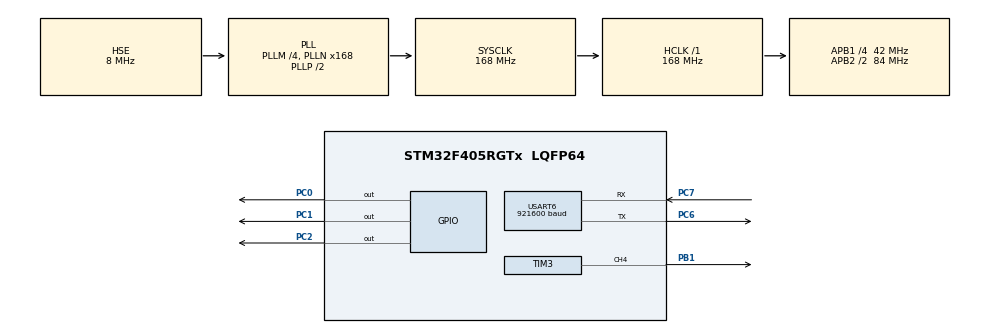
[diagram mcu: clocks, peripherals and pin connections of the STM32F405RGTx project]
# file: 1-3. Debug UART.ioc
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Mcu.Family=STM32F4
Mcu.Name=STM32F405RGTx
Mcu.Package=LQFP64
NVIC.PriorityGroup=NVIC_PRIORITYGROUP_4
NVIC.USART6_IRQn=true\:0\:0\:false\:false\:true\:true\:true\:true
PB1.Signal=S_TIM3_CH4
PC0.Signal=GPIO_Output
PC1.Signal=GPIO_Output
PC2.Signal=GPIO_Output
PC6.Mode=Asynchronous
PC6.Signal=USART6_TX
PC7.Mode=Asynchronous
PC7.Signal=USART6_RX
PH0-OSC_IN.Mode=HSE-External-Oscillator
PH0-OSC_IN.Signal=RCC_OSC_IN
PH1-OSC_OUT.Mode=HSE-External-Oscillator
PH1-OSC_OUT.Signal=RCC_OSC_OUT
ProjectManager.HeapSize=0x200
ProjectManager.StackSize=0x400
ProjectManager.TargetToolchain=STM32CubeIDE
RCC.48MHZClocksFreq_Value=84000000
RCC.AHBFreq_Value=168000000
RCC.APB1CLKDivider=RCC_HCLK_DIV4
RCC.APB1Freq_Value=42000000
RCC.APB1TimFreq_Value=84000000
RCC.APB2CLKDivider=RCC_HCLK_DIV2
RCC.APB2Freq_Value=84000000
RCC.APB2TimFreq_Value=168000000
RCC.CortexFreq_Value=168000000
RCC.HCLKFreq_Value=168000000
RCC.HSE_VALUE=8000000
RCC.HSI_VALUE=16000000
RCC.LSE_VALUE=32768
RCC.PLLM=4
RCC.PLLN=168
RCC.PLLSourceVirtual=RCC_PLLSOURCE_HSE
RCC.SYSCLKFreq_VALUE=168000000
RCC.SYSCLKSource=RCC_SYSCLKSOURCE_PLLCLK
RCC.VCOOutputFreq_Value=336000000
SH.S_TIM3_CH4.0=TIM3_CH4,PWM Generation4 CH4
TIM3.AutoReloadPreload=TIM_AUTORELOAD_PRELOAD_ENABLE
TIM3.Channel-PWM\ Generation4\ CH4=TIM_CHANNEL_4
TIM3.OCFastMode_PWM-PWM\ Generation4\ CH4=TIM_OCFAST_ENABLE
TIM3.Period=20
TIM3.Prescaler=999
TIM3.Pulse-PWM\ Generation4\ CH4=10
USART6.BaudRate=921600
USART6.VirtualMode=VM_ASYNC
VP_TIM3_VS_ClockSourceINT.Mode=Internal
board=custom

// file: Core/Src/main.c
/* USER CODE BEGIN Header */
/**
  ******************************************************************************
  * @file           : main.c
  * @brief          : Main program body
  ******************************************************************************
  * @attention
  *
  * Copyright (c) 2025 STMicroelectronics.
  * All rights reserved.
  *
  * This software is licensed under terms that can be found in the LICENSE file
  * in the root directory of this software component.
  * If no LICENSE file comes with this software, it is provided AS-IS.
  *
  ******************************************************************************
  */
/* USER CODE END Header */
#include "main.h"
#include "tim.h"
#include "usart.h"
#include "gpio.h"

/* USER CODE BEGIN PTD */

//표준 출력(예: printf)에서 출력된 문자열을 USART6를 통해 UART로 전송하는 역할
//_write 함수는 C 라이브러리의 printf 함수와 연결되어 있으며, 이 함수가 호출될 때마다 USART를 통해 데이터를 전송
int _write(int file, char* p, int len)
{
	//printf내의 문자열 UART로 전송하여 출력
	for(int i=0;i<len;i++)
	{
		LL_USART_TransmitData8(USART6, *(p+i));
		HAL_Delay(1);
	}
}
/* USER CODE END PTD */

/* USER CODE BEGIN PV */
extern uint8_t uart6_rx_flag;
extern uint8_t uart6_rx_data;
/* USER CODE END PV */

void SystemClock_Config(void);

int main(void)
{

  /* USER CODE BEGIN 1 */
	int count = 0;
	float f = 1.234;
  /* USER CODE END 1 */

  /* MCU Configuration--------------------------------------------------------*/

  /* Reset of all peripherals, Initializes the Flash interface and the Systick. */
  HAL_Init();

  /* Configure the system clock */
  SystemClock_Config();

  /* Initialize all configured peripherals */
  MX_GPIO_Init();
  MX_TIM3_Init();

  //UART 초기화
  MX_USART6_UART_Init();
  /* USER CODE BEGIN 2 */

  // 타이머로 PWM신호 만들어서 패시브 부저 출력하기
  LL_TIM_EnableCounter(TIM3);
  LL_TIM_CC_EnableChannel(TIM3, LL_TIM_CHANNEL_CH4);

  TIM3->PSC = 2000;
  HAL_Delay(100);
  TIM3->PSC = 1500;
  HAL_Delay(100);
  TIM3->PSC = 1000;
  HAL_Delay(100);

  LL_TIM_CC_DisableChannel(TIM3, LL_TIM_CHANNEL_CH4);

  //UART 수신완료 인터럽트 활성화
  LL_USART_EnableIT_RXNE(USART6);

  /* USER CODE END 2 */

  /* Infinite loop */
  while (1)
  {

    /* USER CODE BEGIN 3 */
	  //UART수신 완료 후 데이터 가져왔으면
	  if(uart6_rx_flag == 1)
	  {
		  //수신 플래그 초기화
		  uart6_rx_flag = 0;
		  //수신 받은 데이터 UART 통해 전송 (echo)
		  LL_USART_TransmitData8(USART6, uart6_rx_data);

		  switch(uart6_rx_data)
		  {
		  case '0':
			  LL_GPIO_TogglePin(GPIOC, LL_GPIO_PIN_0 | LL_GPIO_PIN_1 | LL_GPIO_PIN_2 );
			  printf("%d %f\n",count++, f+=0.001);
			  break;
		  case '1':
			  LL_TIM_CC_EnableChannel(TIM3, LL_TIM_CHANNEL_CH4);
			  break;
		  case '2':
			  LL_TIM_CC_DisableChannel(TIM3, LL_TIM_CHANNEL_CH4);
			  break;
		  }
	  }
  }
  /* USER CODE END 3 */
}

void SystemClock_Config(void)
{
  RCC_OscInitTypeDef RCC_OscInitStruct = {0};
  RCC_ClkInitTypeDef RCC_ClkInitStruct = {0};

  /** Configure the main internal regulator output voltage
  */
  __HAL_RCC_PWR_CLK_ENABLE();
  __HAL_PWR_VOLTAGESCALING_CONFIG(PWR_REGULATOR_VOLTAGE_SCALE1);

  /** Initializes the RCC Oscillators according to the specified parameters
  * in the RCC_OscInitTypeDef structure.
  */
  RCC_OscInitStruct.OscillatorType = RCC_OSCILLATORTYPE_HSE;
  RCC_OscInitStruct.HSEState = RCC_HSE_ON;
  RCC_OscInitStruct.PLL.PLLState = RCC_PLL_ON;
  RCC_OscInitStruct.PLL.PLLSource = RCC_PLLSOURCE_HSE;
  RCC_OscInitStruct.PLL.PLLM = 4;
  RCC_OscInitStruct.PLL.PLLN = 168;
  RCC_OscInitStruct.PLL.PLLP = RCC_PLLP_DIV2;
  RCC_OscInitStruct.PLL.PLLQ = 4;
  if (HAL_RCC_OscConfig(&RCC_OscInitStruct) != HAL_OK)
  {
    Error_Handler();
  }

  /** Initializes the CPU, AHB and APB buses clocks
  */
  RCC_ClkInitStruct.ClockType = RCC_CLOCKTYPE_HCLK|RCC_CLOCKTYPE_SYSCLK
                              |RCC_CLOCKTYPE_PCLK1|RCC_CLOCKTYPE_PCLK2;
  RCC_ClkInitStruct.SYSCLKSource = RCC_SYSCLKSOURCE_PLLCLK;
  RCC_ClkInitStruct.AHBCLKDivider = RCC_SYSCLK_DIV1;
  RCC_ClkInitStruct.APB1CLKDivider = RCC_HCLK_DIV4;
  RCC_ClkInitStruct.APB2CLKDivider = RCC_HCLK_DIV2;

  if (HAL_RCC_ClockConfig(&RCC_ClkInitStruct, FLASH_LATENCY_5) != HAL_OK)
  {
    Error_Handler();
  }
}

void Error_Handler(void)
{
  __disable_irq();
  while (1)
  {
  }
}
